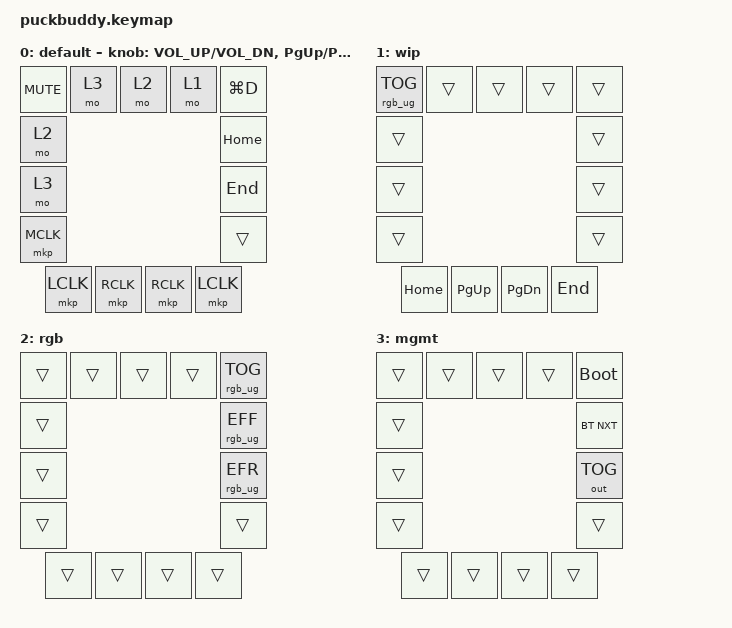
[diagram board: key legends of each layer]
/*
 * Copyright (c) 2024 The ZMK Contributors
 *
 * SPDX-License-Identifier: MIT
 */

#include <behaviors.dtsi>
#include <behaviors/mouse_keys.dtsi>

#include <dt-bindings/zmk/keys.h>
#include <dt-bindings/zmk/bt.h>
#include <dt-bindings/zmk/ext_power.h>
#include <dt-bindings/zmk/rgb.h>
#include <dt-bindings/zmk/outputs.h>
#include <dt-bindings/zmk/mouse.h>

/*
 * If you didn't build with one or more of the encoders, change the &sensors node to only include the one(s) you used.
 * If you didn't use any, you can delete the entire &sensors node by putting "/delete-node/ &sensors;" here instead.
 */
&sensors {
    sensors = <&left_encoder &right_encoder>;
};

/ {
    keymap {
        compatible = "zmk,keymap";

        default_layer {
            display-name = "default";
            bindings = <
                &kp C_MUTE  &mo 3      &mo 2      &mo 1      &kp LG(D)
                &mo 2                                        &kp HOME
                &mo 3                                        &kp END
                &mkp MCLK                                    &trans
                &mkp LCLK   &mkp RCLK  &mkp RCLK  &mkp LCLK
            >;
            sensor-bindings = <
                &inc_dec_kp C_VOL_UP C_VOL_DN
                &inc_dec_kp PG_UP PG_DN	
            >;
        };

        adjust_layer {
            display-name = "wip";
            bindings = <
                &rgb_ug RGB_TOG  &trans     &trans     &trans  &trans
                &trans                                         &trans
                &trans                                         &trans
                &trans                                         &trans
                &kp HOME         &kp PG_UP  &kp PG_DN  &kp END
            >;
        };

        rgb_layer {
            display-name = "rgb";
            bindings = <
                &trans  &trans  &trans  &trans  &rgb_ug RGB_TOG
                &trans                          &rgb_ug RGB_EFF
                &trans                          &rgb_ug RGB_EFR
                &trans                          &trans
                &trans  &trans  &trans  &trans
            >;
        };

        mgmt_layer {
            display-name = "mgmt";
            bindings = <
                &trans  &trans  &trans  &trans  &bootloader
                &trans                          &bt BT_NXT
                &trans                          &out OUT_TOG
                &trans                          &trans
                &trans  &trans  &trans  &trans
            >;
        };
    };
};
